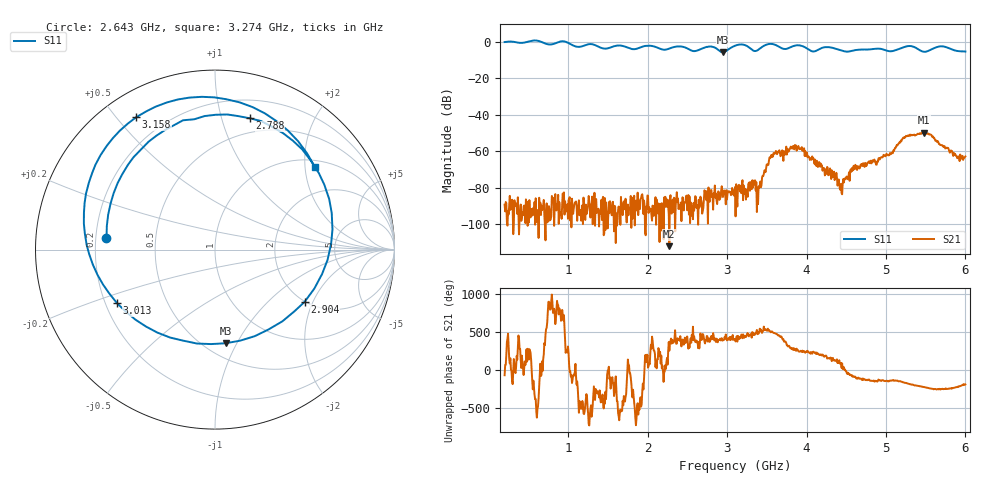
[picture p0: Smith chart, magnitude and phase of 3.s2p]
! NanoVNA-App
! Date: 2024-06-25 16:14:15
! Start: 200MHz Stop: 6GHz Points: 801
! S-Parameter data: F S11 S21 S12 S22
# Hz S RI R 50
!  Frequency  S11_Real  S11_Imag  S21_Real  S21_Imag  S12_Real  S12_Imag  S22_Real  S22_Imag
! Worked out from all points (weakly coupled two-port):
!   801 points, 200 MHz to 6 GHz, reference 50 ohm
!   highest |S21| = -49.70 dB at 5.478 GHz (marker M1); lowest = -112.2 dB at 2.273 GHz (marker M2)
!   lowest |S11| = -5.6 dB at 2.948 GHz (marker M3), VSWR 3.21, Z = 31.4 - j45.2 ohm
!   |S11| at or under -10 dB: nowhere
!   S12 and S22 are empty: the file has one direction only
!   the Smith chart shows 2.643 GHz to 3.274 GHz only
!   S11 on the Smith chart (normalised r, x): 2.643 GHz: 0.24, +0.05; 2.788 GHz: 0.36, +1.23; 2.904 GHz: 1.99, -1.74; 3.013 GHz: 0.25, -0.24; 3.158 GHz: 0.10, +0.56; 3.274 GHz: 1.18, +2.26
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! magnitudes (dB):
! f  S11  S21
! 200 MHz  0.0  -89.4
! 1.171 GHz  -2.4  -92.5
! 2.136 GHz  -3.2  -90.1
! 2.273 GHz  -3.5  -112.2
! 2.643 GHz  -4.3  -86.7
! 2.788 GHz  -2.4  -83.6
! 2.904 GHz  -4.8  -86.7
! 2.948 GHz  -5.6  -85.2
! 3.013 GHz  -4.1  -82.1
! 3.1 GHz  -2.0  -79.7
! 3.158 GHz  -1.3  -79.4
! 3.274 GHz  -2.8  -77.4
! 3.405 GHz  -3.8  -80.2
! 3.615 GHz  -1.6  -59.8
! 3.883 GHz  -1.7  -58.5
! 4.072 GHz  -5.1  -62.8
! 4.42 GHz  -4.3  -80.6
! 4.586 GHz  -4.6  -70.3
! 5.036 GHz  -5.0  -62.1
! 5.239 GHz  -2.6  -52.5
! 5.478 GHz  -5.3  -49.7
! 6 GHz  -5.2  -62.9
